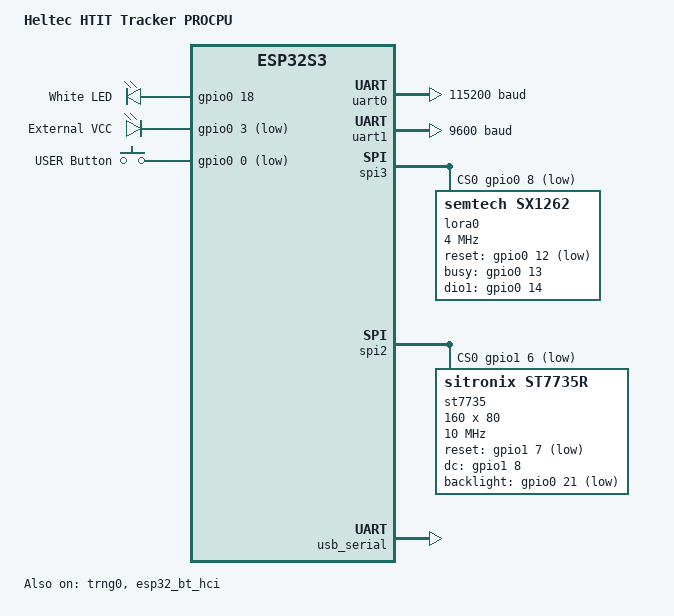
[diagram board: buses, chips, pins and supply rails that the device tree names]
/*
 * Copyright (c) 2025 Nate Aquino
 *
 * SPDX-License-Identifier: Apache-2.0
 */
/dts-v1/;

#include <espressif/esp32s3/esp32s3_fn8.dtsi>
#include "heltec_htit_tracker-pinctrl.dtsi"
#include <zephyr/dt-bindings/input/input-event-codes.h>
#include <zephyr/dt-bindings/lora/sx126x.h>
#include <espressif/partitions_0x0_amp.dtsi>

/ {
	model = "Heltec HTIT Tracker PROCPU";
	compatible = "espressif,esp32s3";

	aliases {
		uart-0 = &uart0;
		uart-1 = &uart1;
		led0 = &led0;
		sw0 = &button0;
		watchdog0 = &wdt0;
		lora0 = &lora0;
	};

	leds {
		compatible = "gpio-leds";
		led0: led {
			gpios = <&gpio0 18 GPIO_ACTIVE_HIGH>; 
			label = "White LED";
		};

		vext: vext { 
			gpios = <&gpio0 3 (GPIO_PULL_UP | GPIO_ACTIVE_LOW)>;
			label = "External VCC";
		};
	};

	buttons {
		compatible = "gpio-keys";
		button0: button_0 {
			gpios = <&gpio0 0 (GPIO_PULL_UP | GPIO_ACTIVE_LOW)>;
			label = "USER Button";
			zephyr,code = <INPUT_KEY_0>;
		};
	};

	chosen {
		zephyr,sram = &sram1;
		zephyr,console = &usb_serial;
		zephyr,shell-uart = &usb_serial;
		zephyr,flash = &flash0;
		zephyr,code-partition = &slot0_partition;
		zephyr,bt-hci = &esp32_bt_hci;
	};
};

&flash0 {
	reg = <0x0 DT_SIZE_M(4)>;
};

&uart0 {
	status = "okay";
	current-speed = <115200>;
	pinctrl-0 = <&uart0_default>;
	pinctrl-names = "default";
};

&uart1 {
	status = "okay";
	current-speed = <9600>; // default for UC6580
	pinctrl-0 = <&uart1_default>;
	pinctrl-names = "default";
};

&gpio0 {
	status = "okay";
};

&trng0 {
	status = "okay";
};

&spi3 {  // Note: spi3 may be wrong here
    #address-cells = <1>;
    #size-cells = <0>;
    status = "okay";
    pinctrl-0 = <&spim3_default>;
    pinctrl-names = "default";
    cs-gpios = <&gpio0 8 GPIO_ACTIVE_LOW>;
    lora0: lora@0 {
        compatible = "semtech,sx1262";
        reg = <0>;
        reset-gpios = <&gpio0 12 (GPIO_OPEN_DRAIN | GPIO_ACTIVE_LOW)>;
        busy-gpios = <&gpio0 13 GPIO_ACTIVE_HIGH>;
        dio1-gpios = <&gpio0 14 GPIO_ACTIVE_HIGH>; /* SX1262 DIO1 */
		dio2-tx-enable;
		dio3-tcxo-voltage = <SX126X_DIO3_TCXO_1V8>;
		tcxo-power-startup-delay-ms = <5>;
        spi-max-frequency = <4000000>;
    };
};

&spi2 {
	#address-cells = <1>;
    #size-cells = <0>;
	status = "okay";
	pinctrl-0 = <&spim2_default>;
	pinctrl-names = "default";
	cs-gpios = <&gpio1 6 GPIO_ACTIVE_LOW>; // gpio0 38 = gpio1 6

	st7735: st7735@0 {
		compatible = "sitronix,st7735r";
		reg = <0>;
		spi-max-frequency = <10000000>; // lower if needed
		reset-gpios = <&gpio1 7 GPIO_ACTIVE_LOW>; // gpio0 39 = gpio1 7
		dc-gpios = <&gpio1 8 GPIO_ACTIVE_HIGH>; // gpio0 40 = gpio1 8
		backlight-gpios = <&gpio0 21 GPIO_ACTIVE_LOW>; // if not working, try GPIO_ACTIVE_HIGH
		width = <160>;
		height = <80>;
		x-offset = <0>;
		y-offset = <0>;
		gamctrp1 = <0>; // 0 = normal, 1 = inverted
		gamctrn1 = <0>;
	};
};

&usb_serial {
	status = "okay";
};

&esp32_bt_hci {
	status = "okay";
};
